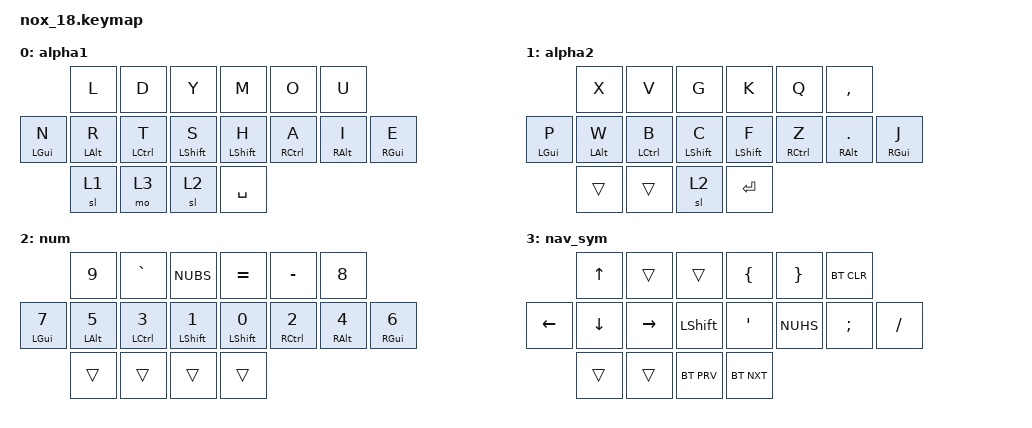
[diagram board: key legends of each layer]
#include <behaviors.dtsi>
#include <dt-bindings/zmk/bt.h>
#include <dt-bindings/zmk/keys.h>

&mt {
    tapping-term-ms = <300>;
    flavor = "tap-preferred";
};

&sl {
    release-after-ms = <350>;
};

/ {
    combos {
        compatible = "zmk,combos";
        // both thumb alts
        combo_esc {
            timeout-ms = <150>;
            key-positions = <15 16>;
            bindings = <&kp ESC>;
        };

        // right middle and ring finger
        combo_back {
            timeout-ms = <25>;
            key-positions = <4 5>;
            bindings = <&kp BSPC>;
        };
    };
};

/ {
    keymap {
        compatible = "zmk,keymap";

        alpha1 {
//     | l | d | y |    | m | o | u |
// | n | r | t | s |    | h | a | i | e |
//         |sl1|mo3|    |sl2|SPC|
            bindings = <

                &kp L      &kp D        &kp Y          &kp M      &kp O      &kp U
&mt LGUI N &mt LALT R &mt LCTL T &mt LSHIFT S   &mt LSHIFT H &mt RCTL A &mt RALT I &mt RGUI E

           &sl 1 &mo 3   &sl 2 &kp SPACE

            >;
        };

        alpha2 {
//     | x | v | g |    | k | q | , |
// | p | w | b | c |    | f | z | . | j |
//         |   |   |    |sl2|RET|
            bindings = <

                &kp X      &kp V        &kp G          &kp K      &kp Q      &kp COMMA
&mt LGUI P &mt LALT W &mt LCTL B &mt LSHIFT C   &mt LSHIFT F &mt RCTL Z &mt RALT DOT &mt RGUI J

           &trans &trans   &sl 2 &kp RET

            >;
        };

        num {
//     | 9 | ` | \ |    | - | = | 8 |
// | 7 | 5 | 3 | 1 |    | 0 | 2 | 4 | 6 |
//         |   |   |    |   |   |
            bindings = <

                 &kp N9      &kp GRAVE     &kp NUBS        &kp EQUAL    &kp MINUS   &kp N8
&mt LGUI N7 &mt LALT N5 &mt LCTL N3 &mt LSHIFT N1   &mt LSHIFT N0 &mt RCTL N2 &mt RALT N4 &mt RGUI N6

           &trans &trans   &trans &trans

            >;
        };

        nav_sym {
//     | ^ |   |   |    | [ | ] |RST|
// | < | v | > |SFT|    | ' | # | ; | / |
//         |   |   |    |BT<|BT>|
            bindings = <

          &kp UP    &trans     &trans       &kp LBRC &kp RBRC  &bt BT_CLR
&kp LEFT  &kp DOWN  &kp RIGHT  &kp LSHFT    &kp SQT  &kp NUHS  &kp SEMI  &kp SLASH

           &trans &trans   &bt BT_PRV	&bt BT_NXT

            >;
        };
    };
};

